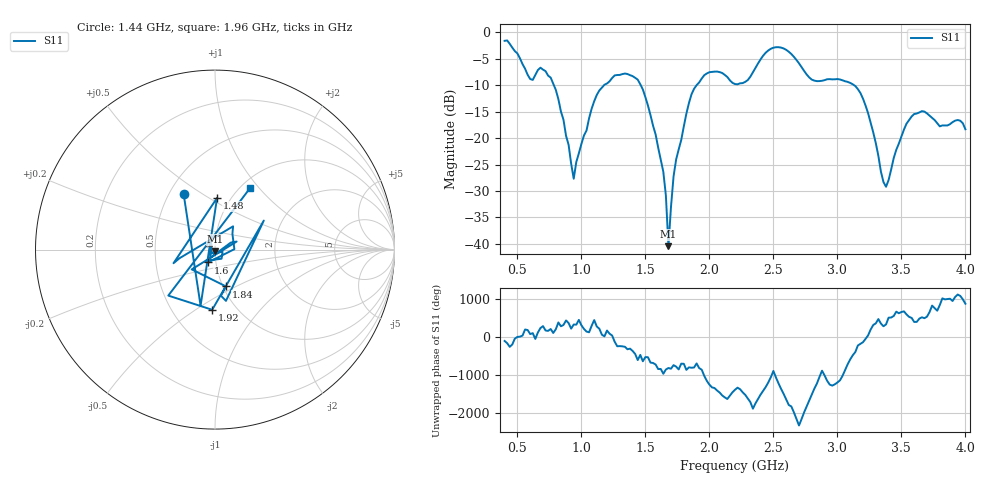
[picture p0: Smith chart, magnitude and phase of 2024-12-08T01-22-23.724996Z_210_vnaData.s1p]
!Created with skrf (http://scikit-rf.org).
# Hz S RI R 50.0
!freq ReS11 ImS11
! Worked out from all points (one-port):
!   181 points, 400 MHz to 4 GHz, reference 50 ohm
!   lowest |S11| = -40.4 dB at 1.68 GHz (marker M1), VSWR 1.02, Z = 50 - j0.952 ohm
!   |S11| at or under -10 dB: 784.3 MHz to 1.177 GHz (392.8 MHz wide, 40 % of centre); 1.464 GHz to 1.9 GHz (436.4 MHz wide, 26 % of centre); 3.13 GHz to end of sweep
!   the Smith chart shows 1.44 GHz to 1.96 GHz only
!   S11 on the Smith chart (normalised r, x): 1.44 GHz: 0.59, +0.42; 1.48 GHz: 0.87, +0.54; 1.6 GHz: 0.92, -0.13; 1.84 GHz: 1.03, -0.44; 1.92 GHz: 0.78, -0.59; 1.96 GHz: 1.10, +0.89
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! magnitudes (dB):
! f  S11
! 400 MHz  -1.6
! 600 MHz  -8.8
! 680 MHz  -6.7
! 760 MHz  -8.6
! 860 MHz  -16.5
! 940 MHz  -27.7
! 1.12 GHz  -11.9
! 1.3 GHz  -8.1
! 1.44 GHz  -9.0
! 1.48 GHz  -10.8
! 1.6 GHz  -21.8
! 1.66 GHz  -30.9
! 1.68 GHz  -40.4
! 1.72 GHz  -27.2
! 1.76 GHz  -22.1
! 1.84 GHz  -13.4
! 1.92 GHz  -9.5
! 1.96 GHz  -8.1
! 2.2 GHz  -9.8
! 2.48 GHz  -3.1
! 2.66 GHz  -4.6
! 2.8 GHz  -8.9
! 3.1 GHz  -9.6
! 3.22 GHz  -13.9
! 3.38 GHz  -29.2
! 3.56 GHz  -16.6
! 3.66 GHz  -14.9
! 4 GHz  -18.3
